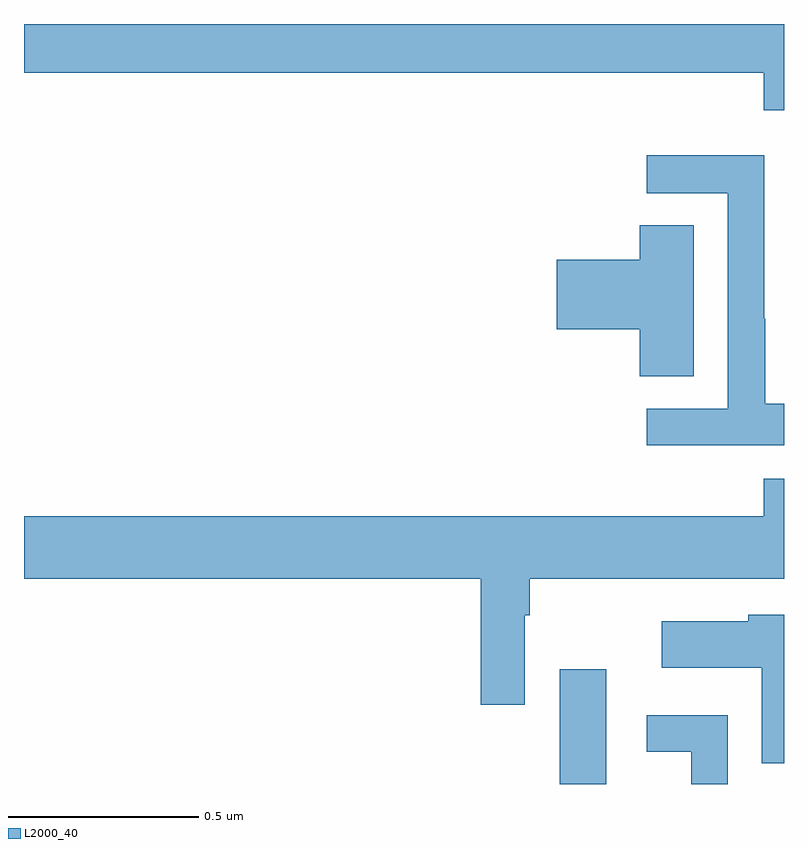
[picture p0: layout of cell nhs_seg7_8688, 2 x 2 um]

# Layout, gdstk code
import gdstk
lib = gdstk.Library(unit=1e-6, precision=1e-09)
def R(c, l, rs):  # rectangles x0, y0, x1, y1
    for r in rs: c.add(gdstk.rectangle(r[:2], r[2:], *l))
def P(c, l, *ps):  # polygons
    for p in ps: c.add(gdstk.Polygon(p, *l))
L2000_40 = (2000, 40)

nhs_seg7_8688 = lib.new_cell('nhs_seg7_8688')
R(nhs_seg7_8688, L2000_40, [(228.41,1076,228.532,1076.302)])
P(nhs_seg7_8688, L2000_40, [(229,1078),(227,1078),(227,1077.872),(228.947,1077.872),(228.947,1077.773),(229,1077.773)],
  [(229,1077.001),(228.951,1077.001),(228.951,1077.224),(228.948,1077.224),(228.948,1077.654),(228.639,1077.654),(228.639,1077.555),(228.852,1077.555),(228.852,1076.988),(228.639,1076.988),(228.639,1076.892),(229,1076.892)],
  [(228.763,1077.47),(228.62,1077.47),(228.62,1077.38),(228.402,1077.38),(228.402,1077.197),(228.62,1077.197),(228.62,1077.073),(228.763,1077.073)],
  [(228.318,1076.444),(228.331,1076.444),(228.331,1076.54),(229,1076.54),(229,1076.803),(228.947,1076.803),(228.947,1076.704),(227,1076.704),(227,1076.54),(228.202,1076.54),(228.202,1076.208),(228.318,1076.208)],
  [(229,1076.446),(228.906,1076.446),(228.906,1076.428),(228.678,1076.428),(228.678,1076.306),(228.942,1076.306),(228.942,1076.054),(229,1076.054)],
  [(228.852,1076.181),(228.639,1076.181),(228.639,1076.085),(228.756,1076.085),(228.756,1076),(228.852,1076)])

lib.write_gds('nhs_seg7_8688.gds')
